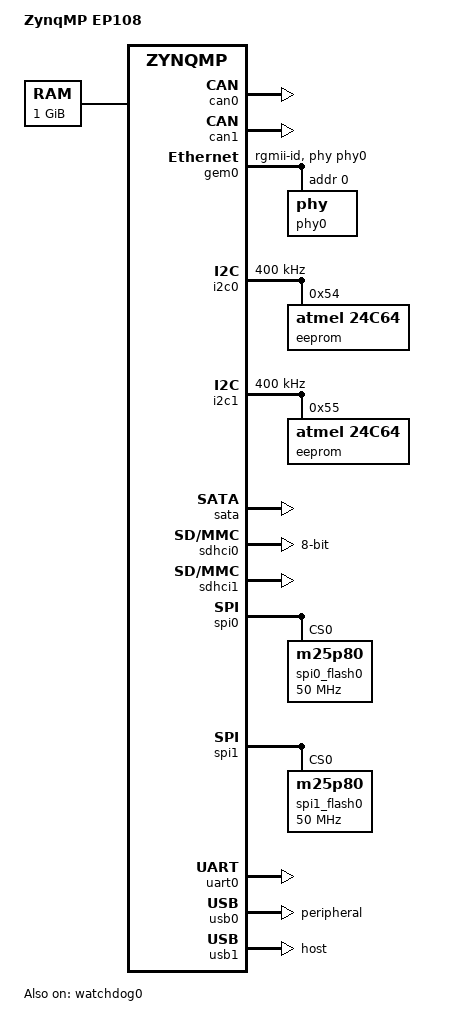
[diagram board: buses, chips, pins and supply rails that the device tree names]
// SPDX-License-Identifier: GPL-2.0+
/*
 * dts file for Xilinx ZynqMP ep108 development board
 *
 * (C) Copyright 2014 - 2015, Xilinx, Inc.
 *
 * Michal Simek <michal.simek@xilinx.com>
 *
 * This program is free software; you can redistribute it and/or
 * modify it under the terms of the GNU General Public License as
 * published by the Free Software Foundation; either version 2 of
 * the License, or (at your option) any later version.
 */

/dts-v1/;

#include "zynqmp.dtsi"
#include "zynqmp-ep108-clk.dtsi"

/ {
	model = "ZynqMP EP108";

	aliases {
		mmc0 = &sdhci0;
		mmc1 = &sdhci1;
		serial0 = &uart0;
	};

	chosen {
		stdout-path = "serial0:115200n8";
	};

	memory@0 {
		device_type = "memory";
		reg = <0x0 0x0 0x0 0x40000000>;
	};
};

&can0 {
	status = "okay";
};

&can1 {
	status = "okay";
};

&gem0 {
	status = "okay";
	phy-handle = <&phy0>;
	phy-mode = "rgmii-id";
	phy0: phy@0 {
		reg = <0>;
		max-speed = <100>;
	};
};

&gpio {
	status = "okay";
};

&i2c0 {
	status = "okay";
	clock-frequency = <400000>;
	eeprom@54 {
		compatible = "atmel,24c64";
		reg = <0x54>;
	};
};

&i2c1 {
	status = "okay";
	clock-frequency = <400000>;
	eeprom@55 {
		compatible = "atmel,24c64";
		reg = <0x55>;
	};
};

&sata {
	status = "okay";
	ceva,broken-gen2;
	/* SATA Phy OOB timing settings */
	ceva,p0-cominit-params = /bits/ 8 <0x0F 0x25 0x18 0x29>;
	ceva,p0-comwake-params = /bits/ 8 <0x04 0x0B 0x08 0x0F>;
	ceva,p0-burst-params = /bits/ 8 <0x0A 0x08 0x4A 0x06>;
	ceva,p0-retry-params = /bits/ 16 <0x0216 0x7F06>;
	ceva,p1-cominit-params = /bits/ 8 <0x0F 0x25 0x18 0x29>;
	ceva,p1-comwake-params = /bits/ 8 <0x04 0x0B 0x08 0x0F>;
	ceva,p1-burst-params = /bits/ 8 <0x0A 0x08 0x4A 0x06>;
	ceva,p1-retry-params = /bits/ 16 <0x0216 0x7F06>;
};

&sdhci0 {
	status = "okay";
	bus-width = <8>;
};

&sdhci1 {
	status = "okay";
};

&spi0 {
	status = "okay";
	num-cs = <1>;
	spi0_flash0: spi0_flash0@0 {
		compatible = "m25p80";
		#address-cells = <1>;
		#size-cells = <1>;
		spi-max-frequency = <50000000>;
		reg = <0>;

		spi0_flash0@0 {
			label = "spi0_flash0";
			reg = <0x0 0x100000>;
		};
	};
};

&spi1 {
	status = "okay";
	num-cs = <1>;
	spi1_flash0: spi1_flash0@0 {
		compatible = "m25p80";
		#address-cells = <1>;
		#size-cells = <1>;
		spi-max-frequency = <50000000>;
		reg = <0>;

		spi1_flash0@0 {
			label = "spi1_flash0";
			reg = <0x0 0x100000>;
		};
	};
};

&uart0 {
	status = "okay";
};

&usb0 {
	status = "okay";
	dr_mode = "peripheral";
	maximum-speed = "high-speed";
};

&usb1 {
	status = "okay";
	dr_mode = "host";
	maximum-speed = "high-speed";
};

&watchdog0 {
	status = "okay";
};
